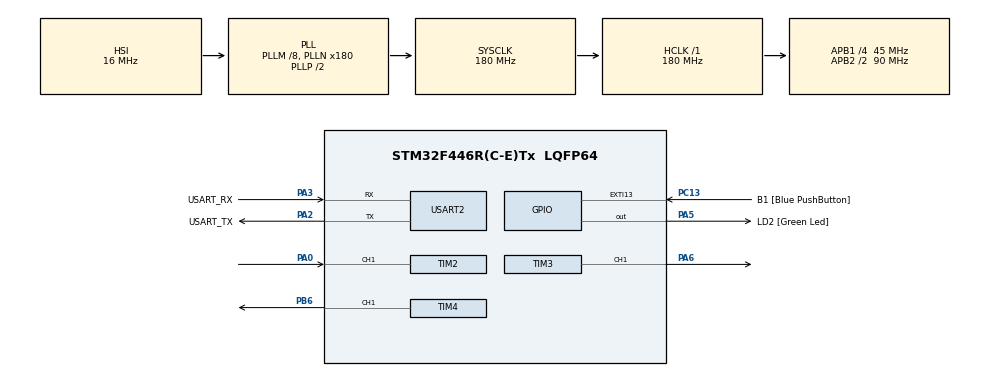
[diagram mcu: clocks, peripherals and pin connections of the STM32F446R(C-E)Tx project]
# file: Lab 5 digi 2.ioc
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Mcu.Family=STM32F4
Mcu.Name=STM32F446R(C-E)Tx
Mcu.Package=LQFP64
NVIC.PriorityGroup=NVIC_PRIORITYGROUP_0
NVIC.TIM2_IRQn=true\:0\:0\:false\:false\:true\:true\:true\:true
PA0-WKUP.Signal=S_TIM2_CH1_ETR
PA13.GPIO_Label=TMS
PA13.Signal=SYS_JTMS-SWDIO
PA14.GPIO_Label=TCK
PA14.Signal=SYS_JTCK-SWCLK
PA2.GPIO_Label=USART_TX
PA2.Mode=Asynchronous
PA2.Signal=USART2_TX
PA3.GPIO_Label=USART_RX
PA3.Mode=Asynchronous
PA3.Signal=USART2_RX
PA5.GPIO_Label=LD2 [Green Led]
PA5.Signal=GPIO_Output
PA6.Signal=S_TIM3_CH1
PB3.GPIO_Label=SWO
PB3.Signal=SYS_JTDO-SWO
PB6.Signal=S_TIM4_CH1
PC13.GPIO_Label=B1 [Blue PushButton]
PC13.GPIO_ModeDefaultEXTI=GPIO_MODE_IT_FALLING
PC13.Signal=GPXTI13
PC14-OSC32_IN.Signal=RCC_OSC32_IN
PC15-OSC32_OUT.Signal=RCC_OSC32_OUT
PH0-OSC_IN.Signal=RCC_OSC_IN
PH1-OSC_OUT.Signal=RCC_OSC_OUT
ProjectManager.HeapSize=0x200
ProjectManager.StackSize=0x400
ProjectManager.TargetToolchain=STM32CubeIDE
RCC.AHBFreq_Value=180000000
RCC.APB1CLKDivider=RCC_HCLK_DIV4
RCC.APB1Freq_Value=45000000
RCC.APB1TimFreq_Value=90000000
RCC.APB2CLKDivider=RCC_HCLK_DIV2
RCC.APB2Freq_Value=90000000
RCC.APB2TimFreq_Value=180000000
RCC.CortexFreq_Value=180000000
RCC.FLatency-AdvancedSettings=FLASH_LATENCY_5
RCC.HCLKFreq_Value=180000000
RCC.HSE_VALUE=8000000
RCC.HSI_VALUE=16000000
RCC.LSE_VALUE=32768
RCC.PLLM=8
RCC.PLLN=180
RCC.SYSCLKFreq_VALUE=180000000
RCC.SYSCLKSource=RCC_SYSCLKSOURCE_PLLCLK
RCC.USBFreq_Value=180000000
RCC.VCOOutputFreq_Value=360000000
SH.S_TIM2_CH1_ETR.0=TIM2_CH1,Input_Capture1_from_TI1
SH.S_TIM2_CH1_ETR.1=TIM2_CH1,TriggerSource_TI1FP1
SH.S_TIM3_CH1.0=TIM3_CH1,Output Compare1 CH1
SH.S_TIM4_CH1.0=TIM4_CH1,Output Compare1 CH1
TIM2.Channel-Input_Capture1_from_TI1=TIM_CHANNEL_1
TIM2.Channel-Input_Capture2_from_TI1_63=TIM_CHANNEL_2
TIM2.ICPolarity_CH2=TIM_INPUTCHANNELPOLARITY_FALLING
TIM2.Prescaler=89
TIM3.Channel-Output\ Compare1\ CH1=TIM_CHANNEL_1
TIM3.OCMode_1=TIM_OCMODE_TOGGLE
TIM3.OCPolarity_1=TIM_OCPOLARITY_LOW
TIM3.Period=499
TIM3.Prescaler=44999
TIM4.Channel-Output\ Compare1\ CH1=TIM_CHANNEL_1
TIM4.OCMode_1=TIM_OCMODE_TOGGLE
TIM4.Period=1999
TIM4.Prescaler=44999
USART2.VirtualMode=VM_ASYNC
VP_TIM2_VS_ControllerModeReset.Mode=Reset Mode
VP_TIM2_VS_indirect_ch1.Mode=Input_Capture2_from_TI1_63
VP_TIM3_VS_ClockSourceINT.Mode=Internal
VP_TIM4_VS_ClockSourceINT.Mode=Internal
board=NUCLEO-F446RE

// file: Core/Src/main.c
/* USER CODE BEGIN Header */
/**
  ******************************************************************************
  * @file           : main.c
  * @brief          : Main program body
  ******************************************************************************
  * @attention
  *
  * Copyright (c) 2026 STMicroelectronics.
  * All rights reserved.
  *
  * This software is licensed under terms that can be found in the LICENSE file
  * in the root directory of this software component.
  * If no LICENSE file comes with this software, it is provided AS-IS.
  *
  ******************************************************************************
  */
/* USER CODE END Header */
#include "main.h"

/* USER CODE BEGIN Includes */
#include <stdio.h>
/* USER CODE END Includes */

TIM_HandleTypeDef htim2;
TIM_HandleTypeDef htim3;
TIM_HandleTypeDef htim4;

UART_HandleTypeDef huart2;

/* USER CODE BEGIN PV */
volatile float frecuencia = 0.0f;
volatile float duty_cycle = 0.0f;
/* USER CODE END PV */

void SystemClock_Config(void);
static void MX_GPIO_Init(void);
static void MX_TIM2_Init(void);
static void MX_USART2_UART_Init(void);
static void MX_TIM3_Init(void);
static void MX_TIM4_Init(void);

int main(void)
{

  /* MCU Configuration--------------------------------------------------------*/

  /* Reset of all peripherals, Initializes the Flash interface and the Systick. */
  HAL_Init();

  /* Configure the system clock */
  SystemClock_Config();

  /* Initialize all configured peripherals */
  MX_GPIO_Init();
  MX_TIM2_Init();
  MX_USART2_UART_Init();
  MX_TIM3_Init();
  MX_TIM4_Init();
  /* USER CODE BEGIN 2 */
  HAL_TIM_Base_Start(&htim2);
  HAL_TIM_IC_Start_IT(&htim2, TIM_CHANNEL_1);
  HAL_TIM_IC_Start(&htim2, TIM_CHANNEL_2);
  HAL_TIM_OC_Start(&htim3, TIM_CHANNEL_1);
  HAL_TIM_OC_Start(&htim4, TIM_CHANNEL_1);
  /* USER CODE END 2 */

  /* Infinite loop */
  /* USER CODE BEGIN WHILE */
  while (1)
    {
      char mensaje[50];
      int len = sprintf(mensaje, "Frec: %.2f Hz | Duty: %.2f %%\r\n", frecuencia, duty_cycle);
      HAL_UART_Transmit(&huart2, (uint8_t*)mensaje, len, HAL_MAX_DELAY);
      HAL_Delay(1000);
    /* USER CODE END WHILE */

  }
}

void SystemClock_Config(void)
{
  RCC_OscInitTypeDef RCC_OscInitStruct = {0};
  RCC_ClkInitTypeDef RCC_ClkInitStruct = {0};

  /** Configure the main internal regulator output voltage
  */
  __HAL_RCC_PWR_CLK_ENABLE();
  __HAL_PWR_VOLTAGESCALING_CONFIG(PWR_REGULATOR_VOLTAGE_SCALE1);

  /** Initializes the RCC Oscillators according to the specified parameters
  * in the RCC_OscInitTypeDef structure.
  */
  RCC_OscInitStruct.OscillatorType = RCC_OSCILLATORTYPE_HSI;
  RCC_OscInitStruct.HSIState = RCC_HSI_ON;
  RCC_OscInitStruct.HSICalibrationValue = RCC_HSICALIBRATION_DEFAULT;
  RCC_OscInitStruct.PLL.PLLState = RCC_PLL_ON;
  RCC_OscInitStruct.PLL.PLLSource = RCC_PLLSOURCE_HSI;
  RCC_OscInitStruct.PLL.PLLM = 8;
  RCC_OscInitStruct.PLL.PLLN = 180;
  RCC_OscInitStruct.PLL.PLLP = RCC_PLLP_DIV2;
  RCC_OscInitStruct.PLL.PLLQ = 2;
  RCC_OscInitStruct.PLL.PLLR = 2;
  if (HAL_RCC_OscConfig(&RCC_OscInitStruct) != HAL_OK)
  {
    Error_Handler();
  }

  /** Activate the Over-Drive mode
  */
  if (HAL_PWREx_EnableOverDrive() != HAL_OK)
  {
    Error_Handler();
  }

  /** Initializes the CPU, AHB and APB buses clocks
  */
  RCC_ClkInitStruct.ClockType = RCC_CLOCKTYPE_HCLK|RCC_CLOCKTYPE_SYSCLK
                              |RCC_CLOCKTYPE_PCLK1|RCC_CLOCKTYPE_PCLK2;
  RCC_ClkInitStruct.SYSCLKSource = RCC_SYSCLKSOURCE_PLLCLK;
  RCC_ClkInitStruct.AHBCLKDivider = RCC_SYSCLK_DIV1;
  RCC_ClkInitStruct.APB1CLKDivider = RCC_HCLK_DIV4;
  RCC_ClkInitStruct.APB2CLKDivider = RCC_HCLK_DIV2;

  if (HAL_RCC_ClockConfig(&RCC_ClkInitStruct, FLASH_LATENCY_5) != HAL_OK)
  {
    Error_Handler();
  }
}

static void MX_TIM2_Init(void)
{

  TIM_SlaveConfigTypeDef sSlaveConfig = {0};
  TIM_MasterConfigTypeDef sMasterConfig = {0};
  TIM_IC_InitTypeDef sConfigIC = {0};

  htim2.Instance = TIM2;
  htim2.Init.Prescaler = 89;
  htim2.Init.CounterMode = TIM_COUNTERMODE_UP;
  htim2.Init.Period = 4294967295;
  htim2.Init.ClockDivision = TIM_CLOCKDIVISION_DIV1;
  htim2.Init.AutoReloadPreload = TIM_AUTORELOAD_PRELOAD_DISABLE;
  if (HAL_TIM_Base_Init(&htim2) != HAL_OK)
  {
    Error_Handler();
  }
  if (HAL_TIM_IC_Init(&htim2) != HAL_OK)
  {
    Error_Handler();
  }
  sSlaveConfig.SlaveMode = TIM_SLAVEMODE_RESET;
  sSlaveConfig.InputTrigger = TIM_TS_TI1FP1;
  sSlaveConfig.TriggerPolarity = TIM_INPUTCHANNELPOLARITY_RISING;
  sSlaveConfig.TriggerFilter = 0;
  if (HAL_TIM_SlaveConfigSynchro(&htim2, &sSlaveConfig) != HAL_OK)
  {
    Error_Handler();
  }
  sMasterConfig.MasterOutputTrigger = TIM_TRGO_RESET;
  sMasterConfig.MasterSlaveMode = TIM_MASTERSLAVEMODE_DISABLE;
  if (HAL_TIMEx_MasterConfigSynchronization(&htim2, &sMasterConfig) != HAL_OK)
  {
    Error_Handler();
  }
  sConfigIC.ICPolarity = TIM_INPUTCHANNELPOLARITY_RISING;
  sConfigIC.ICSelection = TIM_ICSELECTION_DIRECTTI;
  sConfigIC.ICPrescaler = TIM_ICPSC_DIV1;
  sConfigIC.ICFilter = 0;
  if (HAL_TIM_IC_ConfigChannel(&htim2, &sConfigIC, TIM_CHANNEL_1) != HAL_OK)
  {
    Error_Handler();
  }
  sConfigIC.ICPolarity = TIM_INPUTCHANNELPOLARITY_FALLING;
  sConfigIC.ICSelection = TIM_ICSELECTION_INDIRECTTI;
  if (HAL_TIM_IC_ConfigChannel(&htim2, &sConfigIC, TIM_CHANNEL_2) != HAL_OK)
  {
    Error_Handler();
  }

}

static void MX_TIM3_Init(void)
{

  TIM_ClockConfigTypeDef sClockSourceConfig = {0};
  TIM_MasterConfigTypeDef sMasterConfig = {0};
  TIM_OC_InitTypeDef sConfigOC = {0};

  htim3.Instance = TIM3;
  htim3.Init.Prescaler = 44999;
  htim3.Init.CounterMode = TIM_COUNTERMODE_UP;
  htim3.Init.Period = 499;
  htim3.Init.ClockDivision = TIM_CLOCKDIVISION_DIV1;
  htim3.Init.AutoReloadPreload = TIM_AUTORELOAD_PRELOAD_DISABLE;
  if (HAL_TIM_Base_Init(&htim3) != HAL_OK)
  {
    Error_Handler();
  }
  sClockSourceConfig.ClockSource = TIM_CLOCKSOURCE_INTERNAL;
  if (HAL_TIM_ConfigClockSource(&htim3, &sClockSourceConfig) != HAL_OK)
  {
    Error_Handler();
  }
  if (HAL_TIM_OC_Init(&htim3) != HAL_OK)
  {
    Error_Handler();
  }
  sMasterConfig.MasterOutputTrigger = TIM_TRGO_RESET;
  sMasterConfig.MasterSlaveMode = TIM_MASTERSLAVEMODE_DISABLE;
  if (HAL_TIMEx_MasterConfigSynchronization(&htim3, &sMasterConfig) != HAL_OK)
  {
    Error_Handler();
  }
  sConfigOC.OCMode = TIM_OCMODE_TOGGLE;
  sConfigOC.Pulse = 0;
  sConfigOC.OCPolarity = TIM_OCPOLARITY_LOW;
  sConfigOC.OCFastMode = TIM_OCFAST_DISABLE;
  if (HAL_TIM_OC_ConfigChannel(&htim3, &sConfigOC, TIM_CHANNEL_1) != HAL_OK)
  {
    Error_Handler();
  }
  HAL_TIM_MspPostInit(&htim3);

}

static void MX_TIM4_Init(void)
{

  TIM_ClockConfigTypeDef sClockSourceConfig = {0};
  TIM_MasterConfigTypeDef sMasterConfig = {0};
  TIM_OC_InitTypeDef sConfigOC = {0};

  htim4.Instance = TIM4;
  htim4.Init.Prescaler = 44999;
  htim4.Init.CounterMode = TIM_COUNTERMODE_UP;
  htim4.Init.Period = 1999;
  htim4.Init.ClockDivision = TIM_CLOCKDIVISION_DIV1;
  htim4.Init.AutoReloadPreload = TIM_AUTORELOAD_PRELOAD_DISABLE;
  if (HAL_TIM_Base_Init(&htim4) != HAL_OK)
  {
    Error_Handler();
  }
  sClockSourceConfig.ClockSource = TIM_CLOCKSOURCE_INTERNAL;
  if (HAL_TIM_ConfigClockSource(&htim4, &sClockSourceConfig) != HAL_OK)
  {
    Error_Handler();
  }
  if (HAL_TIM_OC_Init(&htim4) != HAL_OK)
  {
    Error_Handler();
  }
  sMasterConfig.MasterOutputTrigger = TIM_TRGO_RESET;
  sMasterConfig.MasterSlaveMode = TIM_MASTERSLAVEMODE_DISABLE;
  if (HAL_TIMEx_MasterConfigSynchronization(&htim4, &sMasterConfig) != HAL_OK)
  {
    Error_Handler();
  }
  sConfigOC.OCMode = TIM_OCMODE_TOGGLE;
  sConfigOC.Pulse = 0;
  sConfigOC.OCPolarity = TIM_OCPOLARITY_HIGH;
  sConfigOC.OCFastMode = TIM_OCFAST_DISABLE;
  if (HAL_TIM_OC_ConfigChannel(&htim4, &sConfigOC, TIM_CHANNEL_1) != HAL_OK)
  {
    Error_Handler();
  }
  HAL_TIM_MspPostInit(&htim4);

}

static void MX_USART2_UART_Init(void)
{

  huart2.Instance = USART2;
  huart2.Init.BaudRate = 115200;
  huart2.Init.WordLength = UART_WORDLENGTH_8B;
  huart2.Init.StopBits = UART_STOPBITS_1;
  huart2.Init.Parity = UART_PARITY_NONE;
  huart2.Init.Mode = UART_MODE_TX_RX;
  huart2.Init.HwFlowCtl = UART_HWCONTROL_NONE;
  huart2.Init.OverSampling = UART_OVERSAMPLING_16;
  if (HAL_UART_Init(&huart2) != HAL_OK)
  {
    Error_Handler();
  }

}

static void MX_GPIO_Init(void)
{
  GPIO_InitTypeDef GPIO_InitStruct = {0};

  /* GPIO Ports Clock Enable */
  __HAL_RCC_GPIOC_CLK_ENABLE();
  __HAL_RCC_GPIOH_CLK_ENABLE();
  __HAL_RCC_GPIOA_CLK_ENABLE();
  __HAL_RCC_GPIOB_CLK_ENABLE();

  /*Configure GPIO pin Output Level */
  HAL_GPIO_WritePin(LD2_GPIO_Port, LD2_Pin, GPIO_PIN_RESET);

  /*Configure GPIO pin : B1_Pin */
  GPIO_InitStruct.Pin = B1_Pin;
  GPIO_InitStruct.Mode = GPIO_MODE_IT_FALLING;
  GPIO_InitStruct.Pull = GPIO_NOPULL;
  HAL_GPIO_Init(B1_GPIO_Port, &GPIO_InitStruct);

  /*Configure GPIO pin : LD2_Pin */
  GPIO_InitStruct.Pin = LD2_Pin;
  GPIO_InitStruct.Mode = GPIO_MODE_OUTPUT_PP;
  GPIO_InitStruct.Pull = GPIO_NOPULL;
  GPIO_InitStruct.Speed = GPIO_SPEED_FREQ_LOW;
  HAL_GPIO_Init(LD2_GPIO_Port, &GPIO_InitStruct);

}

/* USER CODE BEGIN 4 */
void HAL_TIM_IC_CaptureCallback(TIM_HandleTypeDef *htim)
{
    if (htim->Instance == TIM2)
    {
        if (htim->Channel == HAL_TIM_ACTIVE_CHANNEL_1)
        {
            uint32_t periodo_ticks = HAL_TIM_ReadCapturedValue(htim, TIM_CHANNEL_1);
            uint32_t pulso_ticks = HAL_TIM_ReadCapturedValue(htim, TIM_CHANNEL_2);

            if (periodo_ticks > 0)
            {

                uint32_t frec_reloj_timer = 1011236;

                frecuencia = (float)frec_reloj_timer / periodo_ticks;
                duty_cycle = ((float)pulso_ticks / periodo_ticks) * 100.0f;
            }
        }
    }
}
/* USER CODE END 4 */

void Error_Handler(void)
{
  __disable_irq();
  while (1)
  {
  }
}
